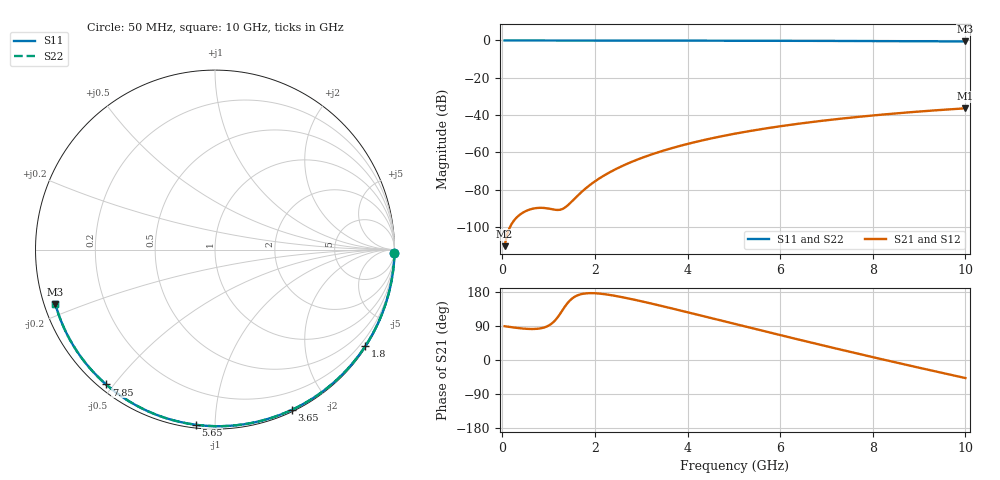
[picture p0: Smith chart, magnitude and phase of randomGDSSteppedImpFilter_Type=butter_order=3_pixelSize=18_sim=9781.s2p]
! freq	dB(S11)	phase(S11)	dB(S12)	phase(S12)
!  dB(S21)	phase(S21)	dB(S22)	phase(S22)
!S-par simulation data
#  GHz  S  DB  R 50
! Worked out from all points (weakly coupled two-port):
!   200 points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, 50 MHz to 10 GHz, reference 50 ohm
!   highest |S21| = -36.41 dB at 10 GHz (marker M1); lowest = -110.4 dB at 50 MHz (marker M2)
!   lowest |S11| = -0.5 dB at 10 GHz (marker M3), VSWR 32.34, Z = 1.59 - j8.26 ohm
!   |S11| at or under -10 dB: nowhere
!   |S22| runs from -0.5 to 0.0 dB; largest |S21 - S12| = 0
!   S11 on the Smith chart (normalised r, x): 50 MHz: open; 1.8 GHz: 0.03, -3.41; 3.65 GHz: 0.02, -1.58; 5.65 GHz: 0.02, -0.90; 7.85 GHz: 0.02, -0.48; 10 GHz: 0.03, -0.17
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0.05  -0.00 -0.9  -110.36 89.1  -110.36 89.1  -0.00 -0.9
0.45  -0.01 -8.3  -92.29 82.9  -92.29 82.9  -0.01 -8.3
0.9  -0.02 -16.5  -89.86 85.6  -89.86 85.6  -0.02 -16.5
1.3  -0.03 -23.8  -90.41 131.5  -90.41 131.5  -0.03 -23.8
1.75  -0.04 -31.8  -80.44 174.9  -80.44 174.9  -0.04 -31.8
1.8  -0.04 -32.7  -79.39 175.8  -79.39 175.8  -0.04 -32.7
1.95  -0.04 -35.4  -76.49 176.4  -76.49 176.4  -0.04 -35.4
2.1  -0.05 -38.0  -73.94 175.2  -73.94 175.2  -0.05 -38.0
2.45  -0.06 -44.1  -69.02 169.0  -69.02 169.0  -0.06 -44.1
2.9  -0.07 -51.9  -64.07 157.8  -64.07 157.8  -0.07 -51.9
3.4  -0.08 -60.3  -59.72 143.8  -59.72 143.8  -0.08 -60.3
3.65  -0.09 -64.5  -57.85 136.4  -57.85 136.4  -0.09 -64.5
4.3  -0.11 -75.1  -53.72 117.0  -53.72 117.0  -0.11 -75.1
5.05  -0.13 -87.0  -49.89 94.3  -49.89 94.3  -0.13 -87.0
5.65  -0.16 -96.3  -47.35 76.2  -47.35 76.2  -0.16 -96.3
6.15  -0.19 -103.8  -45.51 61.3  -45.51 61.3  -0.19 -103.9
6.7  -0.22 -112.0  -43.71 45.1  -43.71 45.1  -0.22 -112.1
7.25  -0.26 -120.1  -42.13 29.0  -42.13 29.0  -0.26 -120.2
7.85  -0.30 -128.9  -40.60 11.8  -40.60 11.8  -0.30 -128.9
8.35  -0.35 -136.2  -39.46 -2.3  -39.46 -2.3  -0.35 -136.3
9.2  -0.44 -148.9  -37.76 -25.9  -37.76 -25.9  -0.44 -148.9
10  -0.54 -161.2  -36.41 -47.6  -36.41 -47.6  -0.54 -161.3
